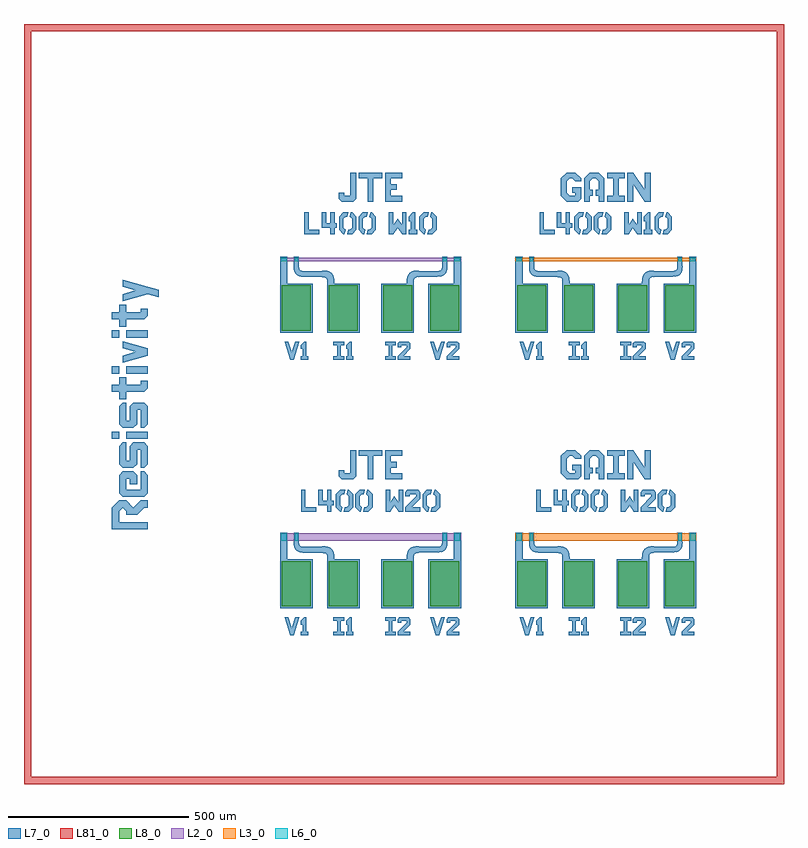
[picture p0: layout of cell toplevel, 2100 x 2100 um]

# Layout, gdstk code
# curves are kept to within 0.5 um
from math import pi, radians
import gdstk
lib = gdstk.Library(unit=1e-6, precision=1e-09)
def R(c, l, rs):  # rectangles x0, y0, x1, y1
    for r in rs: c.add(gdstk.rectangle(r[:2], r[2:], *l))
def P(c, l, *ps):  # polygons
    for p in ps: c.add(gdstk.Polygon(p, *l))
L2_0 = (2, 0)
L3_0 = (3, 0)
L6_0 = (6, 0)
L7_0 = (7, 0)
L8_0 = (8, 0)
L81_0 = (81, 0)

offset = lib.new_cell('offset')
R(offset, L8_0, [(5,5,85,130)])

rectangle002 = lib.new_cell('rectangle002')
R(rectangle002, L7_0, [(0,0,90,135)])
rectangle002.add(gdstk.Reference(offset, (0,0)))

rectangle005 = lib.new_cell('rectangle005')
R(rectangle005, L7_0, [(0,0,20,50)])

rectangle003 = lib.new_cell('rectangle003')
R(rectangle003, L7_0, [(0,0,20,24)])

rectangle006 = lib.new_cell('rectangle006')
R(rectangle006, L6_0, [(-248,-5,-232,5)])

pad_v = lib.new_cell('pad_v')
pad_v.add(gdstk.Reference(rectangle002, (-250,-202)))
pad_v.add(gdstk.Reference(rectangle005, (-250,-67)))
pad_v.add(gdstk.Reference(rectangle003, (-250,-17)))
pad_v.add(gdstk.Reference(rectangle006, (0,0)))

rectangle004 = lib.new_cell('rectangle004')
R(rectangle004, L7_0, [(0,0,14,24)])

extrude = lib.new_cell('extrude')
P(extrude, L7_0, [(-212,-17),(-211.614,-27.171),(-209.362,-34.803),(-205.059,-40.896),(-198.656,-45.198),(-193.119,-46.992),(-186.65,-47.829),(-125.381,-49.75),(-122.013,-51.166),(-120.509,-53.698),(-120,-67),(-100,-67),(-100.684,-54.051),(-103.049,-45.646),(-107.874,-38.516),(-114.869,-33.713),(-120.836,-31.808),(-127.788,-31.056),(-190.273,-31.923),(-194.112,-30.578),(-196.306,-28.092),(-197.556,-23.899),(-198,-17)])

rectangle007 = lib.new_cell('rectangle007')
R(rectangle007, L6_0, [(-210,-5,-200,5)])

pad_i = lib.new_cell('pad_i')
pad_i.add(gdstk.Reference(rectangle002, (-120,-202)))
pad_i.add(gdstk.Reference(rectangle004, (-212,-17)))
pad_i.add(gdstk.Reference(extrude, (0,0)))
pad_i.add(gdstk.Reference(rectangle007, (0,0)))

metal_left = lib.new_cell('metal_left')
metal_left.add(gdstk.Reference(pad_v, (0,0)))
metal_left.add(gdstk.Reference(pad_i, (0,0)))

metal_left008 = lib.new_cell('metal_left008')
metal_left008.add(gdstk.Reference(pad_v, (0,0), rotation=pi, x_reflection=True))
metal_left008.add(gdstk.Reference(pad_i, (0,0), rotation=pi, x_reflection=True))

rectangle = lib.new_cell('rectangle')
R(rectangle, L2_0, [(-250,-5,250,5)])

text = lib.new_cell('text')
P(text, L7_0, [(-72,176),(-56,176),(-56,240),(-40,240),(-40,168),(-48,160),(-80,160),(-88,168),(-88,184),(-72,184),(-72,176)],
  [(32,240),(32,224),(8,224),(8,160),(-8,160),(-8,224),(-32,224),(-32,240),(32,240)],
  [(88,240),(88,224),(56,224),(56,208),(72,208),(72,192),(56,192),(56,176),(88,176),(88,160),(40,160),(40,240),(88,240)])

text009 = lib.new_cell('text009')
P(text009, L7_0, [(-183,130),(-171,130),(-171,82),(-141,82),(-141,70),(-183,70),(-183,130)],
  [(-93,100),(-93,88),(-99,88),(-99,70),(-111,70),(-111,88),(-135,88),(-135,130),(-123,130),(-123,100),(-111,100),(-111,130),(-99,130),(-99,100),(-93,100)],
  [(-69,118),(-75,112),(-75,88),(-69,82),(-72,70),(-75,70),(-87,82),(-87,118),(-75,130),(-61.2,130),(-64.2,118),(-69,118)],
  [(-57,82),(-51,88),(-51,112),(-57,118),(-54,130),(-51,130),(-39,118),(-39,82),(-51,70),(-64.8,70),(-61.8,82),(-57,82)],
  [(-15,118),(-21,112),(-21,88),(-15,82),(-18,70),(-21,70),(-33,82),(-33,118),(-21,130),(-7.2,130),(-10.2,118),(-15,118)],
  [(-3,82),(3,88),(3,112),(-3,118),(0,130),(3,130),(15,118),(15,82),(3,70),(-10.8,70),(-7.8,82),(-3,82)],
  [(51,130),(63,130),(63,94),(75,112),(87,94),(87,130),(99,130),(99,70),(87,70),(75,88),(63,70),(51,70)],
  [(111,106),(105,106),(105,118),(117,130),(123,130),(123,82),(129,82),(129,70),(105,70),(105,82),(111,82)],
  [(153,118),(147,112),(147,88),(153,82),(150,70),(147,70),(135,82),(135,118),(147,130),(160.8,130),(157.8,118),(153,118)],
  [(165,82),(171,88),(171,112),(165,118),(168,130),(171,130),(183,118),(183,82),(171,70),(157.2,70),(160.2,82),(165,82)])

text010 = lib.new_cell('text010')
P(text010, L7_0, [(15,50),(25,20),(35,50),(45,50),(30,0),(20,0),(5,50),(15,50)],
  [(55,30),(50,30),(50,40),(60,50),(65,50),(65,10),(70,10),(70,0),(50,0),(50,10),(55,10)])

text011 = lib.new_cell('text011')
P(text011, L7_0, [(15,50),(25,20),(35,50),(45,50),(30,0),(20,0),(5,50),(15,50)],
  [(50,45),(55,50),(80,50),(85,45),(85,30),(65,10),(85,10),(85,0),(50,0),(50,10),(75,35),(75,40),(60,40),(60,35),(50,35)])

text012 = lib.new_cell('text012')
P(text012, L7_0, [(5,0),(5,10),(15,10),(15,40),(5,40),(5,50),(35,50),(35,40),(25,40),(25,10),(35,10),(35,0),(5,0)],
  [(45,30),(40,30),(40,40),(50,50),(55,50),(55,10),(60,10),(60,0),(40,0),(40,10),(45,10)])

text013 = lib.new_cell('text013')
P(text013, L7_0, [(5,0),(5,10),(15,10),(15,40),(5,40),(5,50),(35,50),(35,40),(25,40),(25,10),(35,10),(35,0),(5,0)],
  [(40,45),(45,50),(70,50),(75,45),(75,30),(55,10),(75,10),(75,0),(40,0),(40,10),(65,35),(65,40),(50,40),(50,35),(40,35)])

pad_label = lib.new_cell('pad_label')
pad_label.add(gdstk.Reference(text010, (-242.5,-277)))
pad_label.add(gdstk.Reference(text011, (160,-277)))
pad_label.add(gdstk.Reference(text012, (-107.5,-277)))
pad_label.add(gdstk.Reference(text013, (35,-277)))

i_test = lib.new_cell('I_test')
i_test.add(gdstk.Reference(metal_left, (0,0)))
i_test.add(gdstk.Reference(metal_left008, (0,0)))
i_test.add(gdstk.Reference(rectangle, (0,0)))
i_test.add(gdstk.Reference(text, (0,0)))
i_test.add(gdstk.Reference(text009, (0,0)))
i_test.add(gdstk.Reference(pad_label, (0,0)))

offset020 = lib.new_cell('offset020')
R(offset020, L8_0, [(5,5,85,130)])

rectangle019 = lib.new_cell('rectangle019')
R(rectangle019, L7_0, [(0,0,90,135)])
rectangle019.add(gdstk.Reference(offset020, (0,0)))

rectangle023 = lib.new_cell('rectangle023')
R(rectangle023, L7_0, [(0,0,20,50)])

rectangle021 = lib.new_cell('rectangle021')
R(rectangle021, L7_0, [(0,0,20,24)])

rectangle025 = lib.new_cell('rectangle025')
R(rectangle025, L6_0, [(-248,-10,-232,10)])

pad_v016 = lib.new_cell('pad_v016')
pad_v016.add(gdstk.Reference(rectangle019, (-250,-197)))
pad_v016.add(gdstk.Reference(rectangle023, (-250,-62)))
pad_v016.add(gdstk.Reference(rectangle021, (-250,-12)))
pad_v016.add(gdstk.Reference(rectangle025, (0,0)))

rectangle022 = lib.new_cell('rectangle022')
R(rectangle022, L7_0, [(0,0,14,24)])

extrude024 = lib.new_cell('extrude024')
P(extrude024, L7_0, [(-212,-12),(-211.614,-22.171),(-209.362,-29.803),(-205.059,-35.896),(-198.656,-40.198),(-193.119,-41.992),(-186.65,-42.829),(-125.381,-44.75),(-122.013,-46.166),(-120.509,-48.698),(-120,-62),(-100,-62),(-100.684,-49.051),(-103.049,-40.646),(-107.874,-33.516),(-114.869,-28.713),(-120.836,-26.808),(-127.788,-26.056),(-190.273,-26.923),(-194.112,-25.578),(-196.306,-23.092),(-197.556,-18.899),(-198,-12)])

rectangle026 = lib.new_cell('rectangle026')
R(rectangle026, L6_0, [(-210,-10,-200,10)])

pad_i017 = lib.new_cell('pad_i017')
pad_i017.add(gdstk.Reference(rectangle019, (-120,-197)))
pad_i017.add(gdstk.Reference(rectangle022, (-212,-12)))
pad_i017.add(gdstk.Reference(extrude024, (0,0)))
pad_i017.add(gdstk.Reference(rectangle026, (0,0)))

metal_left015 = lib.new_cell('metal_left015')
metal_left015.add(gdstk.Reference(pad_v016, (0,0)))
metal_left015.add(gdstk.Reference(pad_i017, (0,0)))

metal_left027 = lib.new_cell('metal_left027')
metal_left027.add(gdstk.Reference(pad_v016, (0,0), rotation=pi, x_reflection=True))
metal_left027.add(gdstk.Reference(pad_i017, (0,0), rotation=pi, x_reflection=True))

rectangle018 = lib.new_cell('rectangle018')
R(rectangle018, L2_0, [(-250,-10,250,10)])

text028 = lib.new_cell('text028')
P(text028, L7_0, [(-72,176),(-56,176),(-56,240),(-40,240),(-40,168),(-48,160),(-80,160),(-88,168),(-88,184),(-72,184),(-72,176)],
  [(32,240),(32,224),(8,224),(8,160),(-8,160),(-8,224),(-32,224),(-32,240),(32,240)],
  [(88,240),(88,224),(56,224),(56,208),(72,208),(72,192),(56,192),(56,176),(88,176),(88,160),(40,160),(40,240),(88,240)])

text029 = lib.new_cell('text029')
P(text029, L7_0, [(-192,130),(-180,130),(-180,82),(-150,82),(-150,70),(-192,70),(-192,130)],
  [(-102,100),(-102,88),(-108,88),(-108,70),(-120,70),(-120,88),(-144,88),(-144,130),(-132,130),(-132,100),(-120,100),(-120,130),(-108,130),(-108,100),(-102,100)],
  [(-78,118),(-84,112),(-84,88),(-78,82),(-81,70),(-84,70),(-96,82),(-96,118),(-84,130),(-70.2,130),(-73.2,118),(-78,118)],
  [(-66,82),(-60,88),(-60,112),(-66,118),(-63,130),(-60,130),(-48,118),(-48,82),(-60,70),(-73.8,70),(-70.8,82),(-66,82)],
  [(-24,118),(-30,112),(-30,88),(-24,82),(-27,70),(-30,70),(-42,82),(-42,118),(-30,130),(-16.2,130),(-19.2,118),(-24,118)],
  [(-12,82),(-6,88),(-6,112),(-12,118),(-9,130),(-6,130),(6,118),(6,82),(-6,70),(-19.8,70),(-16.8,82),(-12,82)],
  [(42,130),(54,130),(54,94),(66,112),(78,94),(78,130),(90,130),(90,70),(78,70),(66,88),(54,70),(42,70)],
  [(96,124),(102,130),(132,130),(138,124),(138,106),(114,82),(138,82),(138,70),(96,70),(96,82),(126,112),(126,118),(108,118),(108,112),(96,112)],
  [(162,118),(156,112),(156,88),(162,82),(159,70),(156,70),(144,82),(144,118),(156,130),(169.8,130),(166.8,118),(162,118)],
  [(174,82),(180,88),(180,112),(174,118),(177,130),(180,130),(192,118),(192,82),(180,70),(166.2,70),(169.2,82),(174,82)])

text031 = lib.new_cell('text031')
P(text031, L7_0, [(15,50),(25,20),(35,50),(45,50),(30,0),(20,0),(5,50),(15,50)],
  [(55,30),(50,30),(50,40),(60,50),(65,50),(65,10),(70,10),(70,0),(50,0),(50,10),(55,10)])

text032 = lib.new_cell('text032')
P(text032, L7_0, [(15,50),(25,20),(35,50),(45,50),(30,0),(20,0),(5,50),(15,50)],
  [(50,45),(55,50),(80,50),(85,45),(85,30),(65,10),(85,10),(85,0),(50,0),(50,10),(75,35),(75,40),(60,40),(60,35),(50,35)])

text033 = lib.new_cell('text033')
P(text033, L7_0, [(5,0),(5,10),(15,10),(15,40),(5,40),(5,50),(35,50),(35,40),(25,40),(25,10),(35,10),(35,0),(5,0)],
  [(45,30),(40,30),(40,40),(50,50),(55,50),(55,10),(60,10),(60,0),(40,0),(40,10),(45,10)])

text034 = lib.new_cell('text034')
P(text034, L7_0, [(5,0),(5,10),(15,10),(15,40),(5,40),(5,50),(35,50),(35,40),(25,40),(25,10),(35,10),(35,0),(5,0)],
  [(40,45),(45,50),(70,50),(75,45),(75,30),(55,10),(75,10),(75,0),(40,0),(40,10),(65,35),(65,40),(50,40),(50,35),(40,35)])

pad_label030 = lib.new_cell('pad_label030')
pad_label030.add(gdstk.Reference(text031, (-242.5,-272)))
pad_label030.add(gdstk.Reference(text032, (160,-272)))
pad_label030.add(gdstk.Reference(text033, (-107.5,-272)))
pad_label030.add(gdstk.Reference(text034, (35,-272)))

i_test014 = lib.new_cell('I_test014')
i_test014.add(gdstk.Reference(metal_left015, (0,0)))
i_test014.add(gdstk.Reference(metal_left027, (0,0)))
i_test014.add(gdstk.Reference(rectangle018, (0,0)))
i_test014.add(gdstk.Reference(text028, (0,0)))
i_test014.add(gdstk.Reference(text029, (0,0)))
i_test014.add(gdstk.Reference(pad_label030, (0,0)))

offset041 = lib.new_cell('offset041')
R(offset041, L8_0, [(5,5,85,130)])

rectangle040 = lib.new_cell('rectangle040')
R(rectangle040, L7_0, [(0,0,90,135)])
rectangle040.add(gdstk.Reference(offset041, (0,0)))

rectangle044 = lib.new_cell('rectangle044')
R(rectangle044, L7_0, [(0,0,20,50)])

rectangle042 = lib.new_cell('rectangle042')
R(rectangle042, L7_0, [(0,0,20,24)])

rectangle046 = lib.new_cell('rectangle046')
R(rectangle046, L6_0, [(-248,-5,-232,5)])

pad_v037 = lib.new_cell('pad_v037')
pad_v037.add(gdstk.Reference(rectangle040, (-250,-202)))
pad_v037.add(gdstk.Reference(rectangle044, (-250,-67)))
pad_v037.add(gdstk.Reference(rectangle042, (-250,-17)))
pad_v037.add(gdstk.Reference(rectangle046, (0,0)))

rectangle043 = lib.new_cell('rectangle043')
R(rectangle043, L7_0, [(0,0,14,24)])

extrude045 = lib.new_cell('extrude045')
P(extrude045, L7_0, [(-212,-17),(-211.614,-27.171),(-209.362,-34.803),(-205.059,-40.896),(-198.656,-45.198),(-193.119,-46.992),(-186.65,-47.829),(-125.381,-49.75),(-122.013,-51.166),(-120.509,-53.698),(-120,-67),(-100,-67),(-100.684,-54.051),(-103.049,-45.646),(-107.874,-38.516),(-114.869,-33.713),(-120.836,-31.808),(-127.788,-31.056),(-190.273,-31.923),(-194.112,-30.578),(-196.306,-28.092),(-197.556,-23.899),(-198,-17)])

rectangle047 = lib.new_cell('rectangle047')
R(rectangle047, L6_0, [(-210,-5,-200,5)])

pad_i038 = lib.new_cell('pad_i038')
pad_i038.add(gdstk.Reference(rectangle040, (-120,-202)))
pad_i038.add(gdstk.Reference(rectangle043, (-212,-17)))
pad_i038.add(gdstk.Reference(extrude045, (0,0)))
pad_i038.add(gdstk.Reference(rectangle047, (0,0)))

metal_left036 = lib.new_cell('metal_left036')
metal_left036.add(gdstk.Reference(pad_v037, (0,0)))
metal_left036.add(gdstk.Reference(pad_i038, (0,0)))

metal_left048 = lib.new_cell('metal_left048')
metal_left048.add(gdstk.Reference(pad_v037, (0,0), rotation=pi, x_reflection=True))
metal_left048.add(gdstk.Reference(pad_i038, (0,0), rotation=pi, x_reflection=True))

rectangle039 = lib.new_cell('rectangle039')
R(rectangle039, L3_0, [(-250,-5,250,5)])

text049 = lib.new_cell('text049')
P(text049, L7_0, [(-108,160),(-124,176),(-124,224),(-108,240),(-84,240),(-68,224),(-68,216),(-84,216),(-92,224),(-100,224),(-108,216),(-108,184),(-100,176),(-84,176),(-84,184),(-92,184),(-92,200),(-68,200),(-68,168),(-76,160)],
  [(-60,224),(-44,240),(-19.92,240),(-4,224),(-4,160),(-19.92,160),(-19.92,176),(-28,176),(-28,192),(-19.92,192),(-19.92,216),(-28,224),(-36,224),(-44,216),(-44,192),(-36,192),(-36,176),(-44,176),(-44,160),(-60.08,160)],
  [(4,160),(4,176),(20,176),(20,224),(4,224),(4,240),(52,240),(52,224),(36,224),(36,176),(52,176),(52,160),(4,160)],
  [(60,240),(76,240),(108,192),(108,240),(124,240),(124,160),(108,160),(76,208),(76,160),(60,160),(60,240)])

text050 = lib.new_cell('text050')
P(text050, L7_0, [(-183,130),(-171,130),(-171,82),(-141,82),(-141,70),(-183,70),(-183,130)],
  [(-93,100),(-93,88),(-99,88),(-99,70),(-111,70),(-111,88),(-135,88),(-135,130),(-123,130),(-123,100),(-111,100),(-111,130),(-99,130),(-99,100),(-93,100)],
  [(-69,118),(-75,112),(-75,88),(-69,82),(-72,70),(-75,70),(-87,82),(-87,118),(-75,130),(-61.2,130),(-64.2,118),(-69,118)],
  [(-57,82),(-51,88),(-51,112),(-57,118),(-54,130),(-51,130),(-39,118),(-39,82),(-51,70),(-64.8,70),(-61.8,82),(-57,82)],
  [(-15,118),(-21,112),(-21,88),(-15,82),(-18,70),(-21,70),(-33,82),(-33,118),(-21,130),(-7.2,130),(-10.2,118),(-15,118)],
  [(-3,82),(3,88),(3,112),(-3,118),(0,130),(3,130),(15,118),(15,82),(3,70),(-10.8,70),(-7.8,82),(-3,82)],
  [(51,130),(63,130),(63,94),(75,112),(87,94),(87,130),(99,130),(99,70),(87,70),(75,88),(63,70),(51,70)],
  [(111,106),(105,106),(105,118),(117,130),(123,130),(123,82),(129,82),(129,70),(105,70),(105,82),(111,82)],
  [(153,118),(147,112),(147,88),(153,82),(150,70),(147,70),(135,82),(135,118),(147,130),(160.8,130),(157.8,118),(153,118)],
  [(165,82),(171,88),(171,112),(165,118),(168,130),(171,130),(183,118),(183,82),(171,70),(157.2,70),(160.2,82),(165,82)])

text052 = lib.new_cell('text052')
P(text052, L7_0, [(15,50),(25,20),(35,50),(45,50),(30,0),(20,0),(5,50),(15,50)],
  [(55,30),(50,30),(50,40),(60,50),(65,50),(65,10),(70,10),(70,0),(50,0),(50,10),(55,10)])

text053 = lib.new_cell('text053')
P(text053, L7_0, [(15,50),(25,20),(35,50),(45,50),(30,0),(20,0),(5,50),(15,50)],
  [(50,45),(55,50),(80,50),(85,45),(85,30),(65,10),(85,10),(85,0),(50,0),(50,10),(75,35),(75,40),(60,40),(60,35),(50,35)])

text054 = lib.new_cell('text054')
P(text054, L7_0, [(5,0),(5,10),(15,10),(15,40),(5,40),(5,50),(35,50),(35,40),(25,40),(25,10),(35,10),(35,0),(5,0)],
  [(45,30),(40,30),(40,40),(50,50),(55,50),(55,10),(60,10),(60,0),(40,0),(40,10),(45,10)])

text055 = lib.new_cell('text055')
P(text055, L7_0, [(5,0),(5,10),(15,10),(15,40),(5,40),(5,50),(35,50),(35,40),(25,40),(25,10),(35,10),(35,0),(5,0)],
  [(40,45),(45,50),(70,50),(75,45),(75,30),(55,10),(75,10),(75,0),(40,0),(40,10),(65,35),(65,40),(50,40),(50,35),(40,35)])

pad_label051 = lib.new_cell('pad_label051')
pad_label051.add(gdstk.Reference(text052, (-242.5,-277)))
pad_label051.add(gdstk.Reference(text053, (160,-277)))
pad_label051.add(gdstk.Reference(text054, (-107.5,-277)))
pad_label051.add(gdstk.Reference(text055, (35,-277)))

i_test035 = lib.new_cell('I_test035')
i_test035.add(gdstk.Reference(metal_left036, (0,0)))
i_test035.add(gdstk.Reference(metal_left048, (0,0)))
i_test035.add(gdstk.Reference(rectangle039, (0,0)))
i_test035.add(gdstk.Reference(text049, (0,0)))
i_test035.add(gdstk.Reference(text050, (0,0)))
i_test035.add(gdstk.Reference(pad_label051, (0,0)))

offset062 = lib.new_cell('offset062')
R(offset062, L8_0, [(5,5,85,130)])

rectangle061 = lib.new_cell('rectangle061')
R(rectangle061, L7_0, [(0,0,90,135)])
rectangle061.add(gdstk.Reference(offset062, (0,0)))

rectangle065 = lib.new_cell('rectangle065')
R(rectangle065, L7_0, [(0,0,20,50)])

rectangle063 = lib.new_cell('rectangle063')
R(rectangle063, L7_0, [(0,0,20,24)])

rectangle067 = lib.new_cell('rectangle067')
R(rectangle067, L6_0, [(-248,-10,-232,10)])

pad_v058 = lib.new_cell('pad_v058')
pad_v058.add(gdstk.Reference(rectangle061, (-250,-197)))
pad_v058.add(gdstk.Reference(rectangle065, (-250,-62)))
pad_v058.add(gdstk.Reference(rectangle063, (-250,-12)))
pad_v058.add(gdstk.Reference(rectangle067, (0,0)))

rectangle064 = lib.new_cell('rectangle064')
R(rectangle064, L7_0, [(0,0,14,24)])

extrude066 = lib.new_cell('extrude066')
P(extrude066, L7_0, [(-212,-12),(-211.614,-22.171),(-209.362,-29.803),(-205.059,-35.896),(-198.656,-40.198),(-193.119,-41.992),(-186.65,-42.829),(-125.381,-44.75),(-122.013,-46.166),(-120.509,-48.698),(-120,-62),(-100,-62),(-100.684,-49.051),(-103.049,-40.646),(-107.874,-33.516),(-114.869,-28.713),(-120.836,-26.808),(-127.788,-26.056),(-190.273,-26.923),(-194.112,-25.578),(-196.306,-23.092),(-197.556,-18.899),(-198,-12)])

rectangle068 = lib.new_cell('rectangle068')
R(rectangle068, L6_0, [(-210,-10,-200,10)])

pad_i059 = lib.new_cell('pad_i059')
pad_i059.add(gdstk.Reference(rectangle061, (-120,-197)))
pad_i059.add(gdstk.Reference(rectangle064, (-212,-12)))
pad_i059.add(gdstk.Reference(extrude066, (0,0)))
pad_i059.add(gdstk.Reference(rectangle068, (0,0)))

metal_left057 = lib.new_cell('metal_left057')
metal_left057.add(gdstk.Reference(pad_v058, (0,0)))
metal_left057.add(gdstk.Reference(pad_i059, (0,0)))

metal_left069 = lib.new_cell('metal_left069')
metal_left069.add(gdstk.Reference(pad_v058, (0,0), rotation=pi, x_reflection=True))
metal_left069.add(gdstk.Reference(pad_i059, (0,0), rotation=pi, x_reflection=True))

rectangle060 = lib.new_cell('rectangle060')
R(rectangle060, L3_0, [(-250,-10,250,10)])

text070 = lib.new_cell('text070')
P(text070, L7_0, [(-108,160),(-124,176),(-124,224),(-108,240),(-84,240),(-68,224),(-68,216),(-84,216),(-92,224),(-100,224),(-108,216),(-108,184),(-100,176),(-84,176),(-84,184),(-92,184),(-92,200),(-68,200),(-68,168),(-76,160)],
  [(-60,224),(-44,240),(-19.92,240),(-4,224),(-4,160),(-19.92,160),(-19.92,176),(-28,176),(-28,192),(-19.92,192),(-19.92,216),(-28,224),(-36,224),(-44,216),(-44,192),(-36,192),(-36,176),(-44,176),(-44,160),(-60.08,160)],
  [(4,160),(4,176),(20,176),(20,224),(4,224),(4,240),(52,240),(52,224),(36,224),(36,176),(52,176),(52,160),(4,160)],
  [(60,240),(76,240),(108,192),(108,240),(124,240),(124,160),(108,160),(76,208),(76,160),(60,160),(60,240)])

text071 = lib.new_cell('text071')
P(text071, L7_0, [(-192,130),(-180,130),(-180,82),(-150,82),(-150,70),(-192,70),(-192,130)],
  [(-102,100),(-102,88),(-108,88),(-108,70),(-120,70),(-120,88),(-144,88),(-144,130),(-132,130),(-132,100),(-120,100),(-120,130),(-108,130),(-108,100),(-102,100)],
  [(-78,118),(-84,112),(-84,88),(-78,82),(-81,70),(-84,70),(-96,82),(-96,118),(-84,130),(-70.2,130),(-73.2,118),(-78,118)],
  [(-66,82),(-60,88),(-60,112),(-66,118),(-63,130),(-60,130),(-48,118),(-48,82),(-60,70),(-73.8,70),(-70.8,82),(-66,82)],
  [(-24,118),(-30,112),(-30,88),(-24,82),(-27,70),(-30,70),(-42,82),(-42,118),(-30,130),(-16.2,130),(-19.2,118),(-24,118)],
  [(-12,82),(-6,88),(-6,112),(-12,118),(-9,130),(-6,130),(6,118),(6,82),(-6,70),(-19.8,70),(-16.8,82),(-12,82)],
  [(42,130),(54,130),(54,94),(66,112),(78,94),(78,130),(90,130),(90,70),(78,70),(66,88),(54,70),(42,70)],
  [(96,124),(102,130),(132,130),(138,124),(138,106),(114,82),(138,82),(138,70),(96,70),(96,82),(126,112),(126,118),(108,118),(108,112),(96,112)],
  [(162,118),(156,112),(156,88),(162,82),(159,70),(156,70),(144,82),(144,118),(156,130),(169.8,130),(166.8,118),(162,118)],
  [(174,82),(180,88),(180,112),(174,118),(177,130),(180,130),(192,118),(192,82),(180,70),(166.2,70),(169.2,82),(174,82)])

text073 = lib.new_cell('text073')
P(text073, L7_0, [(15,50),(25,20),(35,50),(45,50),(30,0),(20,0),(5,50),(15,50)],
  [(55,30),(50,30),(50,40),(60,50),(65,50),(65,10),(70,10),(70,0),(50,0),(50,10),(55,10)])

text074 = lib.new_cell('text074')
P(text074, L7_0, [(15,50),(25,20),(35,50),(45,50),(30,0),(20,0),(5,50),(15,50)],
  [(50,45),(55,50),(80,50),(85,45),(85,30),(65,10),(85,10),(85,0),(50,0),(50,10),(75,35),(75,40),(60,40),(60,35),(50,35)])

text075 = lib.new_cell('text075')
P(text075, L7_0, [(5,0),(5,10),(15,10),(15,40),(5,40),(5,50),(35,50),(35,40),(25,40),(25,10),(35,10),(35,0),(5,0)],
  [(45,30),(40,30),(40,40),(50,50),(55,50),(55,10),(60,10),(60,0),(40,0),(40,10),(45,10)])

text076 = lib.new_cell('text076')
P(text076, L7_0, [(5,0),(5,10),(15,10),(15,40),(5,40),(5,50),(35,50),(35,40),(25,40),(25,10),(35,10),(35,0),(5,0)],
  [(40,45),(45,50),(70,50),(75,45),(75,30),(55,10),(75,10),(75,0),(40,0),(40,10),(65,35),(65,40),(50,40),(50,35),(40,35)])

pad_label072 = lib.new_cell('pad_label072')
pad_label072.add(gdstk.Reference(text073, (-242.5,-272)))
pad_label072.add(gdstk.Reference(text074, (160,-272)))
pad_label072.add(gdstk.Reference(text075, (-107.5,-272)))
pad_label072.add(gdstk.Reference(text076, (35,-272)))

i_test056 = lib.new_cell('I_test056')
i_test056.add(gdstk.Reference(metal_left057, (0,0)))
i_test056.add(gdstk.Reference(metal_left069, (0,0)))
i_test056.add(gdstk.Reference(rectangle060, (0,0)))
i_test056.add(gdstk.Reference(text070, (0,0)))
i_test056.add(gdstk.Reference(text071, (0,0)))
i_test056.add(gdstk.Reference(pad_label072, (0,0)))

text077 = lib.new_cell('text077')
P(text077, L7_0, [(10,100),(70,100),(90,80),(90,60),(70,40),(90,20),(90,0),(70,0),(70,10),(50,30),(50,60),(60,60),(70,70),(60,80),(30,80),(30,0),(10,0)],
  [(110,0),(100,10),(100,70),(110,80),(160,80),(170,70),(170,40),(160,30),(134,30),(134,50),(150,50),(150,60),(120,60),(120,20),(170,20),(170,10),(160,0)],
  [(190,0),(180,10),(180,20),(230,20),(230,30),(190,30),(180,40),(180,70),(190,80),(240,80),(250,70),(250,60),(200,60),(200,50),(240,50),(250,40),(250,10),(240,0)],
  [(260,0),(260,60),(280,60),(280,0),(260,0)],
  [(280,100),(280,80),(260,80),(260,100),(280,100)],
  [(300,0),(290,10),(290,20),(340,20),(340,30),(300,30),(290,40),(290,70),(300,80),(350,80),(360,70),(360,60),(310,60),(310,50),(350,50),(360,40),(360,10),(350,0)],
  [(420,0),(400,0),(390,10),(390,60),(370,60),(370,80),(390,80),(390,100),(410,100),(410,80),(430,80),(430,60),(410,60),(410,20),(420,20)],
  [(440,0),(440,60),(460,60),(460,0),(440,0)],
  [(460,100),(460,80),(440,80),(440,100),(460,100)],
  [(490,0),(470,70),(490,70),(500,35),(510,70),(530,70),(510,0),(490,0)],
  [(540,0),(540,60),(560,60),(560,0),(540,0)],
  [(560,100),(560,80),(540,80),(540,100),(560,100)],
  [(620,0),(600,0),(590,10),(590,60),(570,60),(570,80),(590,80),(590,100),(610,100),(610,80),(630,80),(630,60),(610,60),(610,20),(620,20)],
  [(651.4,-30),(660,0),(640,70),(660,70),(670,35),(680,70),(700,70),(680,0),(671.4,-30),(651.4,-30)])

boolean = lib.new_cell('boolean')
P(boolean, L81_0, [(2100,2100),(0,2100),(0,20),(20,20),(20,2080),(2080,2080),(2080,20),(20,20),(0,20),(0,0),(2100,0)])

toplevel = lib.new_cell('toplevel')
toplevel.add(gdstk.Reference(i_test, (-92.5,399.5)))
toplevel.add(gdstk.Reference(i_test014, (-92.5,-367.5)))
toplevel.add(gdstk.Reference(i_test035, (557.5,399.5)))
toplevel.add(gdstk.Reference(i_test056, (557.5,-367.5)))
toplevel.add(gdstk.Reference(text077, (-707.5,-356.25), rotation=pi/2))
toplevel.add(gdstk.Reference(boolean, (-1050,-1050)))

lib.write_gds('toplevel.gds')
